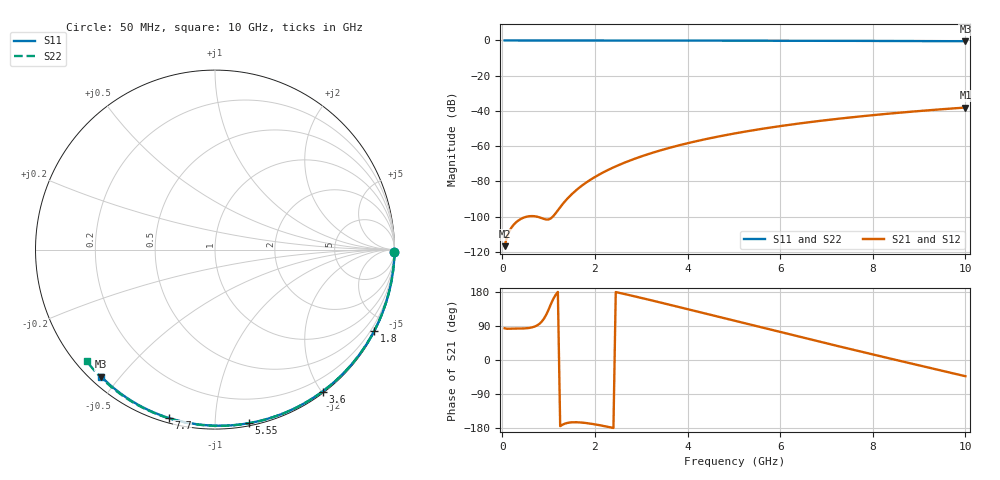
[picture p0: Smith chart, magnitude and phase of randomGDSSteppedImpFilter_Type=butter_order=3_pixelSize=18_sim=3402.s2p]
! freq	dB(S11)	phase(S11)	dB(S12)	phase(S12)
!  dB(S21)	phase(S21)	dB(S22)	phase(S22)
!S-par simulation data
#  GHz  S  DB  R 50
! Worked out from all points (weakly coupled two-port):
!   200 points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, 50 MHz to 10 GHz, reference 50 ohm
!   highest |S21| = -38.07 dB at 10 GHz (marker M1); lowest = -116.8 dB at 50 MHz (marker M2)
!   lowest |S11| = -0.4 dB at 10 GHz (marker M3), VSWR 38.89, Z = 1.54 - j22.3 ohm
!   |S11| at or under -10 dB: nowhere
!   |S22| runs from -0.5 to 0.0 dB; largest |S21 - S12| = 0
!   S11 on the Smith chart (normalised r, x): 50 MHz: open; 1.8 GHz: 0.04, -4.16; 3.6 GHz: 0.02, -2.01; 5.55 GHz: 0.02, -1.21; 7.7 GHz: 0.02, -0.76; 10 GHz: 0.03, -0.45
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0.05  -0.00 -0.8  -116.77 83.7  -116.77 83.7  -0.00 -0.8
0.45  -0.01 -6.9  -100.69 83.2  -100.69 83.2  -0.01 -7.2
0.9  -0.02 -13.6  -101.30 109.1  -101.30 109.1  -0.02 -14.4
1.75  -0.03 -26.3  -81.80 -165.5  -81.80 -165.5  -0.04 -27.7
1.8  -0.03 -27.0  -80.86 -166.2  -80.86 -166.2  -0.04 -28.5
1.85  -0.04 -27.8  -79.97 -167.0  -79.97 -167.0  -0.04 -29.3
2  -0.04 -30.0  -77.50 -169.8  -77.50 -169.8  -0.04 -31.6
2.15  -0.04 -32.2  -75.29 -173.2  -75.29 -173.2  -0.04 -33.9
2.35  -0.04 -35.1  -72.66 -178.1  -72.66 -178.1  -0.05 -37.0
2.55  -0.05 -38.0  -70.32 176.6  -70.32 176.6  -0.05 -40.0
2.95  -0.06 -43.7  -66.29 165.3  -66.29 165.3  -0.06 -46.1
3.4  -0.07 -50.1  -62.51 152.2  -62.51 152.2  -0.07 -52.8
3.6  -0.07 -52.9  -61.02 146.2  -61.02 146.2  -0.08 -55.7
4.3  -0.09 -62.5  -56.53 125.1  -56.53 125.1  -0.09 -65.8
5.05  -0.11 -72.5  -52.63 102.4  -52.63 102.4  -0.12 -76.3
5.55  -0.13 -78.9  -50.41 87.3  -50.41 87.3  -0.14 -83.1
6.1  -0.15 -85.9  -48.25 70.8  -48.25 70.8  -0.16 -90.4
6.7  -0.18 -93.4  -46.16 52.9  -46.16 52.9  -0.19 -98.3
7.7  -0.24 -105.4  -43.20 23.4  -43.20 23.4  -0.25 -110.9
8.35  -0.29 -113.0  -41.54 4.5  -41.54 4.5  -0.30 -119.0
9.2  -0.36 -122.8  -39.64 -19.9  -39.64 -19.9  -0.38 -129.4
10  -0.45 -131.9  -38.07 -42.8  -38.07 -42.8  -0.47 -139.1
